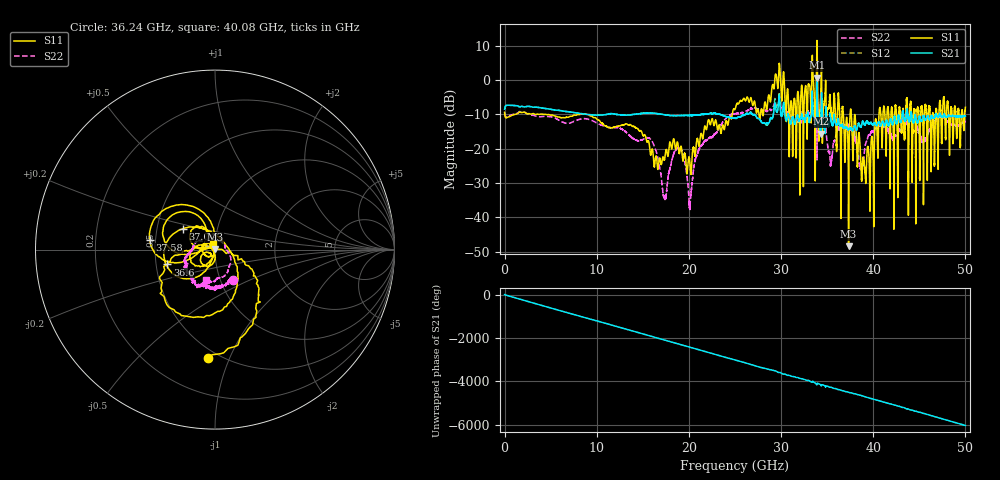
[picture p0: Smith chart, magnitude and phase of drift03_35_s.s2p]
!Created with skrf (http://scikit-rf.org).
# Hz S RI R 50.0
!freq ReS11 ImS11 ReS21 ImS21 ReS12 ImS12 ReS22 ImS22
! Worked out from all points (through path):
!   10001 points, 300 kHz to 50 GHz, reference 50 ohm
!   highest |S21| = 0.72 dB at 33.9 GHz (marker M1); lowest = -15.6 dB at 34.32 GHz (marker M2)
!   group delay of S21, straight-line fit = 335 ps
!   lowest |S11| = -48.4 dB at 37.33 GHz (marker M3), VSWR 1.01, Z = 49.8 + j0.326 ohm
!   |S11| at or under -10 dB: 4.476 GHz to 7.935 GHz (3.459 GHz wide, 55.7 % of centre); 9.02 GHz to 24.7 GHz (15.68 GHz wide, 93 % of centre); 37.62 GHz to 40.62 GHz (3.004 GHz wide, 7.68 % of centre) (the widest 3 of 56)
!   |S22| runs from -37.7 to -5.9 dB; largest |S21 - S12| = 0.11
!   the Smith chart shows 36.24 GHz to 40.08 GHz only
!   S11 on the Smith chart (normalised r, x): 36.24 GHz: 0.44, -0.84; 36.6 GHz: 0.57, -0.10; 37.04 GHz: 0.68, +0.17; 37.58 GHz: 0.46, +0.06; 40.08 GHz: 0.98, +0.06
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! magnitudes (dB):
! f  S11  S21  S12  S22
! 300 kHz  -9.4  -8.5  -8.5  -9.4
! 8.335 GHz  -9.9  -9.8  -9.8  -11.3
! 16.67 GHz  -25.4  -9.8  -9.8  -23.3
! 17.39 GHz  -22.7  -10.1  -10.1  -34.4
! 19.06 GHz  -20.1  -10.3  -10.3  -20.0
! 20.12 GHz  -24.4  -10.3  -10.3  -37.7
! 21.21 GHz  -17.2  -10.1  -10.1  -19.6
! 25 GHz  -8.6  -11.1  -11.1  -9.9
! 31.08 GHz  -6.1  -12.6  -12.7  -10.5
! 33.34 GHz  0.4  -7.6  -7.7  -9.4
! 33.9 GHz  11.5  0.7  0.3  -23.3
! 34.32 GHz  -2.9  -15.6  -14.9  -11.2
! 35.35 GHz  -6.5  -10.6  -10.0  -24.3
! 36.24 GHz  -4.4  -11.8  -11.7  -14.1
! 36.6 GHz  -11.1  -13.0  -13.0  -13.2
! 37.04 GHz  -13.4  -13.8  -13.9  -13.7
! 37.33 GHz  -48.4  -14.3  -14.5  -13.6
! 37.58 GHz  -8.7  -13.9  -13.8  -14.1
! 38.71 GHz  -27.2  -13.4  -13.4  -25.3
! 40.08 GHz  -29.3  -12.7  -12.7  -15.0
! 41.67 GHz  -9.5  -13.3  -13.2  -14.7
! 50 GHz  -7.9  -10.5  -10.5  -12.1
